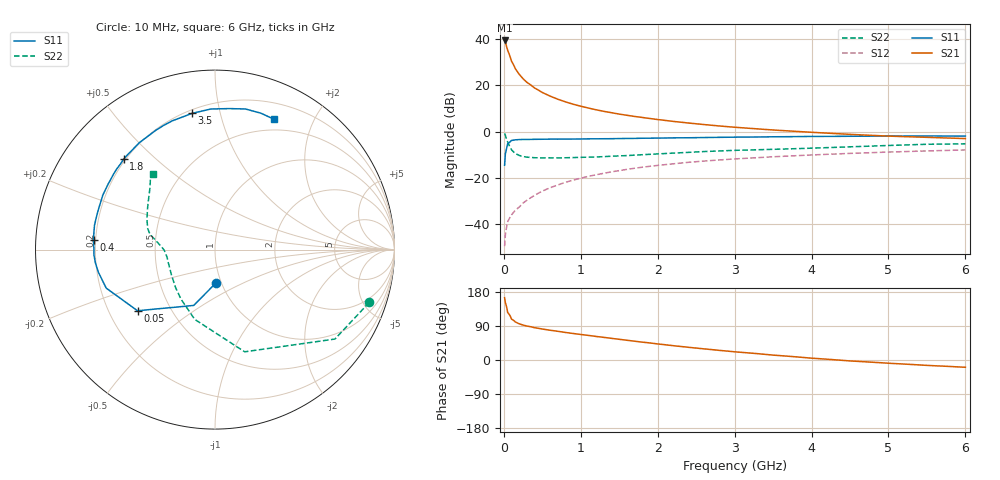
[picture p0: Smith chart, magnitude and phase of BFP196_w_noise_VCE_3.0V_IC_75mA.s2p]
! Infineon Technologies  Discrete & RF Semiconductors
! BFP196
! VCE =  3.0 V,  IC =  75 mA
! Common Emitter S-Parameters:  Jan 2017
# GHz  S  MA  R  50
!  f  S11  S21  S12  S22
! GHz  MAG  ANG  MAG  ANG  MAG  ANG  MAG  ANG
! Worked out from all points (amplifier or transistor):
!   77 points, 10 MHz to 6 GHz, reference 50 ohm
!   highest |S21| = 39.2 dB at 10 MHz (marker M1)
!   |S21| within 3 dB of that: start of sweep to 38.82 MHz
!   unconditionally stable (mu >= 1): 396 MHz to 2.51 GHz
!   at 130 MHz: K = 0.74, MSG = 31.5 dB, |S12| = -34.7 dB
!   at 2.2 GHz: K = 1.01, MAG = 8.6 dB, |S12| = -13.9 dB
!   at 6 GHz: K = 0.96, MSG = 2.4 dB, |S12| = -7.9 dB
!   lowest NFmin = 1.73 dB at 450 MHz
!   S11 on the Smith chart (normalised r, x): 10 MHz: 0.94, -0.36; 50 MHz: 0.32, -0.31; 400 MHz: 0.19, +0.04; 1.8 GHz: 0.19, +0.40; 3.5 GHz: 0.22, +0.82; 6 GHz: 0.37, +1.48
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0.01  0.1877 -89.0  91.19 164.5  0.0034 76.2  0.9086 -18.9
0.02  0.3326 -110.8  83.71 151.1  0.006 70.6  0.8337 -36.7
0.05  0.5498 -141.7  55.86 125.1  0.0114 55.7  0.5929 -73.8
0.1  0.6429 -160.5  32.55 107.8  0.016 57.7  0.4048 -106.2
0.15  0.6617 -168.9  22.41 100.3  0.0202 60.2  0.3355 -124.2
0.2  0.6703 -173.6  17.01 95.5  0.0236 63.9  0.3054 -135.9
0.25  0.6751 -177.4  13.67 92.1  0.0289 64.8  0.2889 -143.7
0.3  0.6746 180.0  11.44 89.6  0.0331 67.0  0.2806 -149.9
0.4  0.6787 175.5  8.641 85.2  0.0422 69.4  0.2726 -157.7
0.5  0.6814 172.0  6.917 81.7  0.0521 69.7  0.2703 -162.9
0.6  0.685 168.6  5.793 78.6  0.0614 69.0  0.2711 -167.0
0.7  0.6849 165.8  4.967 75.8  0.0706 69.3  0.2699 -170.1
0.9  0.6878 159.8  3.87 70.0  0.0897 67.4  0.2745 -174.3
1.1  0.6948 154.1  3.195 64.9  0.1084 65.3  0.28 -177.9
1.4  0.7003 146.0  2.537 57.1  0.1354 61.4  0.2936 178.0
1.8  0.7162 135.3  2.005 47.1  0.1703 55.5  0.3164 173.8
2.1  0.7246 127.8  1.73 40.2  0.1937 51.1  0.3358 171.0
3.1  0.7572 106.6  1.202 20.0  0.2622 36.9  0.3968 161.2
3.5  0.7698 99.5  1.078 12.9  0.2857 32.0  0.4135 156.4
4.1  0.7838 90.2  0.942 3.5  0.3175 24.4  0.4433 147.8
5.1  0.8009 76.5  0.786 -9.6  0.3649 12.7  0.5061 135.6
6  0.7972 65.8  0.704 -19.2  0.401 2.6  0.5433 129.3
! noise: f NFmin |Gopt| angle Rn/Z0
0.45  1.73  0.48  -171  0.06
0.9  1.89  0.51  -158  0.09
1.9  2.72  0.7  -130  0.38
2.4  3.12  0.7  -117  0.83
